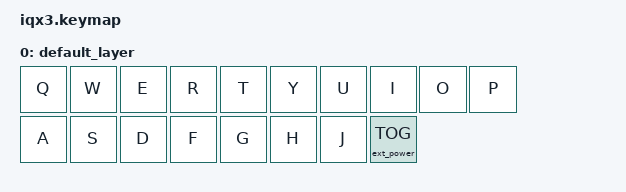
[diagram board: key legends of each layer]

/*
 * Copyright (c) 2021 The ZMK Contributors
 *
 * SPDX-License-Identifier: MIT
 */

#include <behaviors.dtsi>
#include <dt-bindings/zmk/keys.h>
#include <dt-bindings/zmk/ext_power.h>

/ {
    keymap {
        compatible = "zmk,keymap";

        default_layer {
            bindings = <
            &kp Q &kp W &kp E &kp R &kp T      &kp Y     &kp U &kp I     &kp O   &kp P
            &kp A &kp S &kp D &kp F &kp G      &kp H     &kp J &ext_power EP_TOG   

            >;
        };
    };
};
